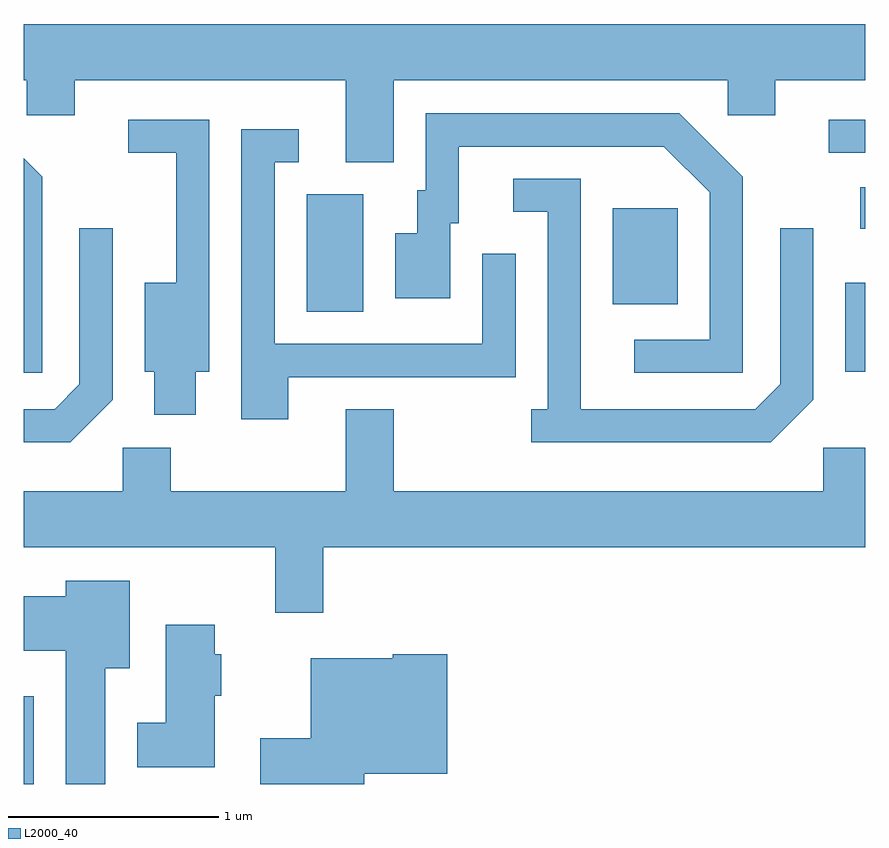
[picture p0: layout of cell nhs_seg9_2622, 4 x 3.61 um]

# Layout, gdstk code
import gdstk
lib = gdstk.Library(unit=1e-6, precision=1e-09)
def R(c, l, rs):  # rectangles x0, y0, x1, y1
    for r in rs: c.add(gdstk.rectangle(r[:2], r[2:], *l))
def P(c, l, *ps):  # polygons
    for p in ps: c.add(gdstk.Polygon(p, *l))
L2000_40 = (2000, 40)

nhs_seg9_2622 = lib.new_cell('nhs_seg9_2622')
R(nhs_seg9_2622, L2000_40, [(261.611,2028.432,261.659,2028.849), (265.516,2030.391,265.611,2030.814), (262.956,2030.676,263.224,2031.234), (264.411,2030.711,264.719,2031.169), (265.586,2031.071,265.611,2031.269), (265.438,2031.431,265.611,2031.589)])
P(nhs_seg9_2622, L2000_40, [(263.369,2031.776),(264.956,2031.776),(264.956,2031.611),(265.184,2031.611),(265.184,2031.776),(265.611,2031.776),(265.611,2032.044),(261.611,2032.044),(261.611,2031.776),(261.626,2031.776),(261.626,2031.611),(261.854,2031.611),(261.854,2031.776),(263.141,2031.776),(263.141,2031.386),(263.369,2031.386)],
  [(265.029,2031.317),(264.727,2031.619),(263.521,2031.619),(263.521,2031.254),(263.481,2031.254),(263.481,2031.049),(263.376,2031.049),(263.376,2030.741),(263.639,2030.741),(263.639,2031.096),(263.679,2031.096),(263.679,2031.461),(264.654,2031.461),(264.871,2031.244),(264.871,2030.544),(264.513,2030.544),(264.513,2030.386),(265.029,2030.386)],
  [(262.429,2030.391),(262.494,2030.391),(262.494,2031.589),(262.108,2031.589),(262.108,2031.431),(262.336,2031.431),(262.336,2030.814),(262.186,2030.814),(262.186,2030.391),(262.231,2030.391),(262.231,2030.186),(262.429,2030.186)],
  [(262.869,2030.366),(263.949,2030.366),(263.949,2030.953),(263.791,2030.953),(263.791,2030.524),(262.804,2030.524),(262.804,2031.386),(262.918,2031.386),(262.918,2031.544),(262.646,2031.544),(262.646,2030.166),(262.869,2030.166)],
  [(261.699,2031.317),(261.611,2031.405),(261.611,2030.386),(261.699,2030.386)],
  [(265.364,2030.259),(265.364,2031.073),(265.206,2031.073),(265.206,2030.332),(265.089,2030.214),(264.259,2030.214),(264.259,2031.309),(263.938,2031.309),(263.938,2031.151),(264.101,2031.151),(264.101,2030.214),(264.023,2030.214),(264.023,2030.056),(265.162,2030.056)],
  [(262.034,2030.259),(262.034,2031.073),(261.876,2031.073),(261.876,2030.332),(261.759,2030.214),(261.611,2030.214),(261.611,2030.056),(261.832,2030.056)],
  [(263.034,2029.556),(265.611,2029.556),(265.611,2030.029),(265.411,2030.029),(265.411,2029.824),(263.369,2029.824),(263.369,2030.214),(263.141,2030.214),(263.141,2029.824),(262.309,2029.824),(262.309,2030.029),(262.081,2030.029),(262.081,2029.824),(261.611,2029.824),(261.611,2029.556),(262.806,2029.556),(262.806,2029.246),(263.034,2029.246)],
  [(261.999,2028.981),(262.114,2028.981),(262.114,2029.399),(261.811,2029.399),(261.811,2029.324),(261.611,2029.324),(261.611,2029.066),(261.811,2029.066),(261.811,2028.432),(261.999,2028.432)],
  [(262.519,2028.851),(262.549,2028.851),(262.549,2029.049),(262.519,2029.049),(262.519,2029.189),(262.286,2029.189),(262.286,2028.724),(262.151,2028.724),(262.151,2028.511),(262.519,2028.511)],
  [(263.229,2028.481),(263.624,2028.481),(263.624,2029.049),(263.366,2029.049),(263.366,2029.029),(262.976,2029.029),(262.976,2028.649),(262.736,2028.649),(262.736,2028.432),(263.229,2028.432)])

lib.write_gds('nhs_seg9_2622.gds')
